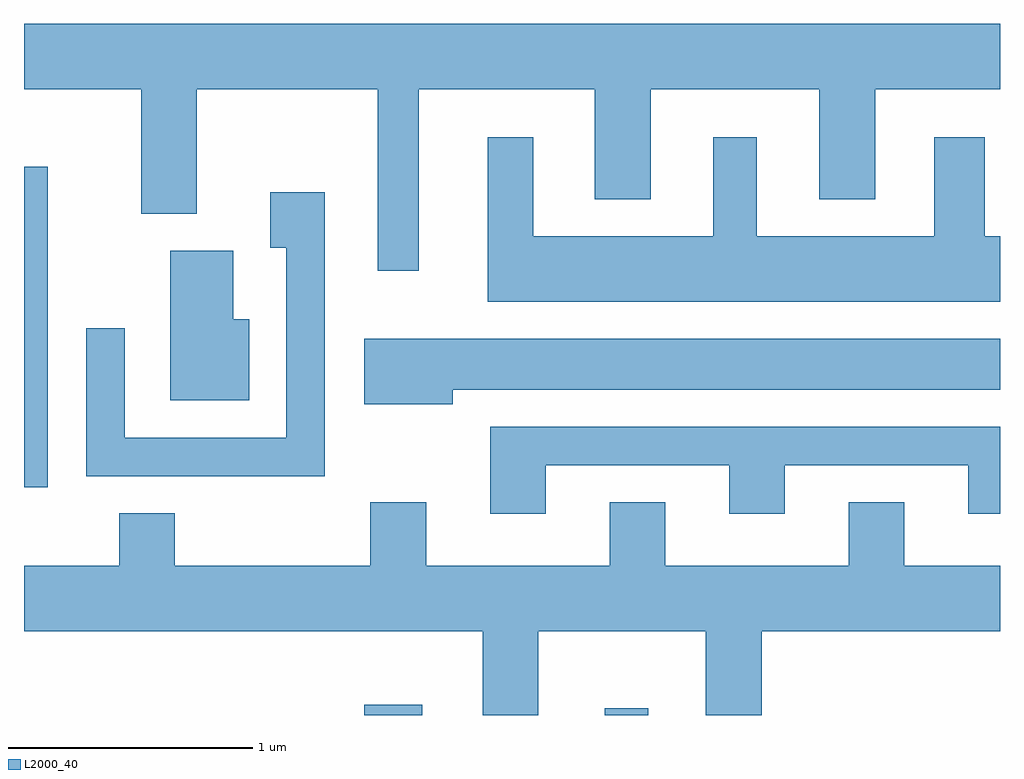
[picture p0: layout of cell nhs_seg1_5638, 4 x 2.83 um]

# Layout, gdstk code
import gdstk
lib = gdstk.Library(unit=1e-6, precision=1e-09)
def R(c, l, rs):  # rectangles x0, y0, x1, y1
    for r in rs: c.add(gdstk.rectangle(r[:2], r[2:], *l))
def P(c, l, *ps):  # polygons
    for p in ps: c.add(gdstk.Polygon(p, *l))
L2000_40 = (2000, 40)

nhs_seg1_5638 = lib.new_cell('nhs_seg1_5638')
R(nhs_seg1_5638, L2000_40, [(357.006,863.712,357.244,863.754), (357.991,863.712,358.169,863.739), (355.611,864.646,355.709,865.959)])
P(nhs_seg1_5638, L2000_40, [(357.229,866.276),(357.951,866.276),(357.951,865.826),(358.179,865.826),(358.179,866.276),(358.871,866.276),(358.871,865.826),(359.099,865.826),(359.099,866.276),(359.611,866.276),(359.611,866.544),(355.611,866.544),(355.611,866.276),(356.091,866.276),(356.091,865.766),(356.319,865.766),(356.319,866.276),(357.061,866.276),(357.061,865.533),(357.229,865.533)],
  [(359.611,865.674),(359.549,865.674),(359.549,866.079),(359.341,866.079),(359.341,865.674),(358.614,865.674),(358.614,866.079),(358.436,866.079),(358.436,865.674),(357.699,865.674),(357.699,866.079),(357.511,866.079),(357.511,865.406),(359.611,865.406)],
  [(356.844,865.854),(356.621,865.854),(356.621,865.626),(356.686,865.626),(356.686,864.849),(356.024,864.849),(356.024,865.298),(355.866,865.298),(355.866,864.691),(356.844,864.691)],
  [(356.534,865.334),(356.469,865.334),(356.469,865.614),(356.211,865.614),(356.211,865.001),(356.534,865.001)],
  [(357.369,865.046),(359.611,865.046),(359.611,865.254),(357.006,865.254),(357.006,864.986),(357.369,864.986)],
  [(357.749,864.736),(358.501,864.736),(358.501,864.536),(358.729,864.536),(358.729,864.736),(359.481,864.736),(359.481,864.536),(359.611,864.536),(359.611,864.894),(357.521,864.894),(357.521,864.536),(357.749,864.536)],
  [(357.719,864.056),(358.406,864.056),(358.406,863.712),(358.634,863.712),(358.634,864.056),(359.611,864.056),(359.611,864.324),(359.219,864.324),(359.219,864.584),(358.991,864.584),(358.991,864.324),(358.239,864.324),(358.239,864.584),(358.011,864.584),(358.011,864.324),(357.259,864.324),(357.259,864.584),(357.031,864.584),(357.031,864.324),(356.229,864.324),(356.229,864.539),(356.001,864.539),(356.001,864.324),(355.611,864.324),(355.611,864.056),(357.491,864.056),(357.491,863.712),(357.719,863.712)])

lib.write_gds('nhs_seg1_5638.gds')
